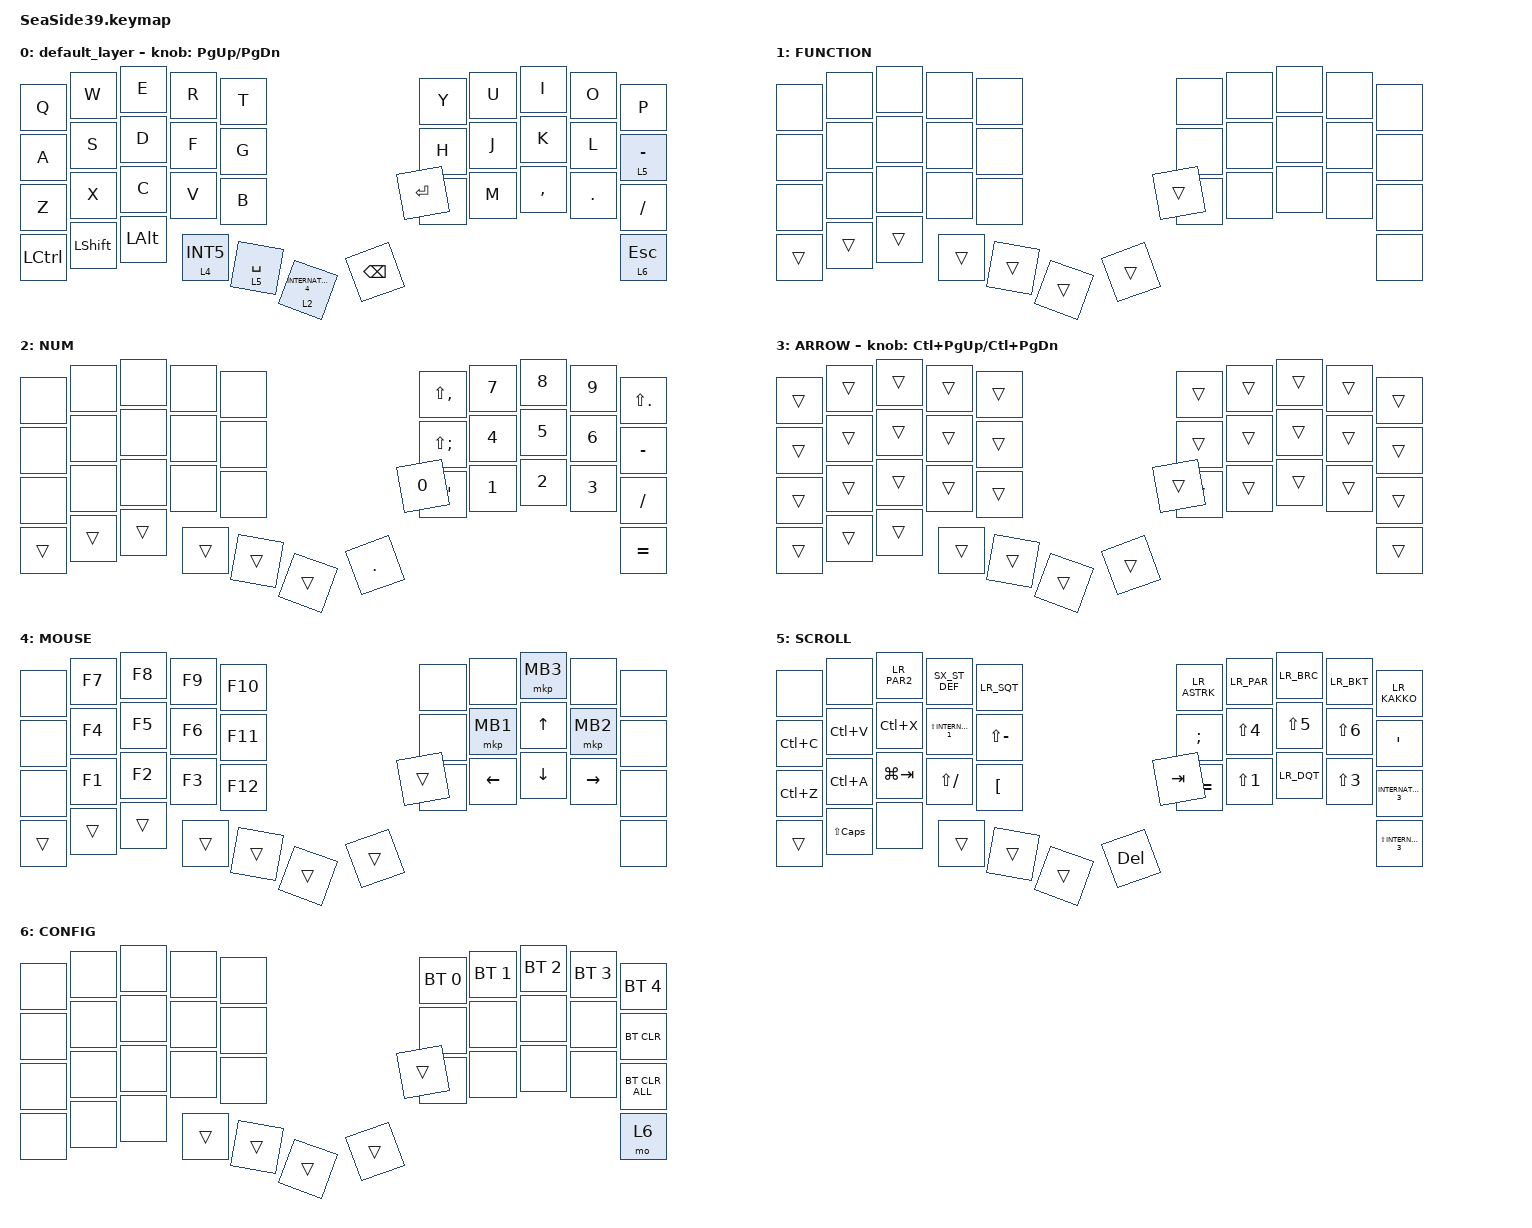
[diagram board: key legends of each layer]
#include <behaviors.dtsi>
#include <dt-bindings/zmk/bt.h>
#include <dt-bindings/zmk/keys.h>
#include <dt-bindings/zmk/pointing.h>

#define MOUSE 4
#define SCROLL 5
#define NUM 6

&mt {
    flavor = "balanced";
    quick-tap-ms = <300>;
};

&lt {
    flavor = "balanced";
    quick-tap-ms = <300>;
};

/ {
    combos { compatible = "zmk,combos"; };

    macros {
        to_layer_0: to_layer_0 {
            compatible = "zmk,behavior-macro-one-param";
            #binding-cells = <1>;
            bindings = <&to 0 &macro_param_1to1 &kp MACRO_PLACEHOLDER>;
            label = "TO_LAYER_0";
        };

        LR_PAR: LR_PAR {
            compatible = "zmk,behavior-macro";
            #binding-cells = <0>;
            bindings = <&kp INT5 &kp LS(N8) &kp LS(N9) &kp LEFT>;
            label = "LR_PAR";
        };

        LR_BRC: LR_BRC {
            compatible = "zmk,behavior-macro";
            #binding-cells = <0>;
            bindings = <&kp INTERNATIONAL_5 &kp LS(RBKT) &kp LS(NUHS) &kp LEFT>;
            label = "LR_BRC";
        };

        LR_BKT: LR_BKT {
            compatible = "zmk,behavior-macro";
            #binding-cells = <0>;
            bindings = <&kp INTERNATIONAL_5 &kp RBKT &kp NUHS &kp LEFT>;
            label = "LR_BKT";
        };

        LR_KAKKO: LR_KAKKO {
            compatible = "zmk,behavior-macro";
            #binding-cells = <0>;
            bindings = <&kp INTERNATIONAL_4 &kp RBKT &kp NUHS &kp ENTER &kp LEFT>;
            label = "LR_KAKKO";
        };

        LR_SQT: LR_SQT {
            compatible = "zmk,behavior-macro";
            #binding-cells = <0>;
            bindings = <&kp INTERNATIONAL_5 &kp LS(N7) &kp LS(N7) &kp LEFT>;
            label = "LR_SQT";
        };

        LR_DQT: LR_DQT {
            compatible = "zmk,behavior-macro";
            #binding-cells = <0>;
            bindings = <&kp INTERNATIONAL_5 &kp LS(NUMBER_2) &kp LS(NUMBER_2) &kp LEFT>;
            label = "LR_DQT";
        };

        LR_ASTRK: LR_ASTRK {
            compatible = "zmk,behavior-macro";
            #binding-cells = <0>;
            bindings = <&kp INTERNATIONAL_5 &kp LS(SQT) &kp LS(SQT) &kp LEFT_ARROW>;
            label = "LR_ASTRK";
        };

        SX_ST_DEF: SX_ST_DEF {
            compatible = "zmk,behavior-macro";
            #binding-cells = <0>;
            bindings = <&kp INTERNATIONAL_5 &kp SQT &kp LS(MINUS) &kp SPACE &kp SPACE &kp SEMI &kp LEFT &kp LEFT>;
            label = "SX_ST_DEF";
        };

        LR_PAR2: LR_PAR2 {
            compatible = "zmk,behavior-macro";
            #binding-cells = <0>;
            bindings = <&kp INTERNATIONAL_4 &kp LS(N8) &kp LS(N9) &kp ENTER &kp LEFT>;
            label = "LR_PAR2";
        };
    };

    behaviors {
        lt_to_layer_0: lt_to_layer_0 {
            compatible = "zmk,behavior-hold-tap";
            label = "LAYER_TAP_TO_0";
            bindings = <&mo>, <&to_layer_0>;

            #binding-cells = <2>;
            tapping-term-ms = <170>;
        };
    };

    keymap {
        compatible = "zmk,keymap";

        default_layer {
            bindings = <
&kp Q      &kp W      &kp E         &kp R                  &kp T                                                                        &kp Y      &kp U  &kp I      &kp O       &kp P
&kp A      &kp S      &kp D         &kp F                  &kp G                                                                        &kp H      &kp J  &kp K      &kp L       &lt_to_layer_0 5 MINUS
&kp Z      &kp X      &kp C         &kp V                  &kp B                                                                        &kp N      &kp M  &kp COMMA  &kp PERIOD  &kp SLASH
&kp LCTRL  &kp LSHFT  &kp LEFT_ALT  &lt_to_layer_0 4 INT5  &lt_to_layer_0 5 SPACE  &lt_to_layer_0 2 INTERNATIONAL_4      &kp BACKSPACE  &kp ENTER                                &lt_to_layer_0 6 ESCAPE
            >;

            sensor-bindings = <&inc_dec_kp PG_UP PAGE_DOWN>;
        };

        FUNCTION {
            bindings = <
&none   &none   &none   &none   &none                       &none   &none  &none  &none  &none
&none   &none   &none   &none   &none                       &none   &none  &none  &none  &none
&none   &none   &none   &none   &none                       &none   &none  &none  &none  &none
&trans  &trans  &trans  &trans  &trans  &trans      &trans  &trans                       &none
            >;
        };

        NUM {
            bindings = <
&none   &none   &none   &none   &none                           &kp LS(COMMA)  &kp NUMBER_7  &kp N8        &kp NUMBER_9  &kp LS(PERIOD)
&none   &none   &none   &none   &none                           &kp LS(SEMI)   &kp NUMBER_4  &kp N5        &kp NUMBER_6  &kp MINUS
&none   &none   &none   &none   &none                           &kp LS(SQT)    &kp NUMBER_1  &kp NUMBER_2  &kp NUMBER_3  &kp SLASH
&trans  &trans  &trans  &trans  &trans  &trans      &kp PERIOD  &kp NUMBER_0                                             &kp EQUAL
            >;
        };

        ARROW {
            bindings = <
&trans  &trans  &trans  &trans  &trans                      &trans  &trans  &trans  &trans  &trans
&trans  &trans  &trans  &trans  &trans                      &trans  &trans  &trans  &trans  &trans
&trans  &trans  &trans  &trans  &trans                      &trans  &trans  &trans  &trans  &trans
&trans  &trans  &trans  &trans  &trans  &trans      &trans  &trans                          &trans
            >;

            sensor-bindings = <&inc_dec_kp LC(PAGE_UP) LC(PAGE_DOWN)>;
        };

        MOUSE {
            bindings = <
&none   &kp F7  &kp F8  &kp F9  &kp F10                      &none   &none           &mkp MB3        &none            &none
&none   &kp F4  &kp F5  &kp F6  &kp F11                      &none   &mkp MB1        &kp UP          &mkp MB2         &none
&none   &kp F1  &kp F2  &kp F3  &kp F12                      &none   &kp LEFT_ARROW  &kp DOWN_ARROW  &kp RIGHT_ARROW  &none
&trans  &trans  &trans  &trans  &trans   &trans      &trans  &trans                                                   &none
            >;
        };

        SCROLL {
            bindings = <
&none      &none             &LR_PAR2     &SX_ST_DEF               &LR_SQT                                   &LR_ASTRK      &LR_PAR           &LR_BRC     &LR_BKT           &LR_KAKKO
&kp LC(C)  &kp LC(V)         &kp LC(X)    &kp LS(INTERNATIONAL_1)  &kp LS(MINUS)                             &kp SEMICOLON  &kp LS(NUMBER_4)  &kp LS(N5)  &kp LS(NUMBER_6)  &kp SQT
&kp LC(Z)  &kp LC(A)         &kp LG(TAB)  &kp LS(SLASH)            &kp LEFT_BRACKET                          &kp LS(EQUAL)  &kp LS(NUMBER_1)  &LR_DQT     &kp LS(NUMBER_3)  &kp INTERNATIONAL_3
&trans     &kp LS(CAPSLOCK)  &none        &trans                   &trans            &trans      &kp DELETE  &kp TAB                                                        &kp LS(INTERNATIONAL_3)
            >;
        };

        CONFIG {
            bindings = <
&none  &none  &none  &none   &none                       &bt BT_SEL 0  &bt BT_SEL 1  &bt BT_SEL 2  &bt BT_SEL 3  &bt BT_SEL 4
&none  &none  &none  &none   &none                       &none         &none         &none         &none         &bt BT_CLR
&none  &none  &none  &none   &none                       &none         &none         &none         &none         &bt BT_CLR_ALL
&none  &none  &none  &trans  &trans  &trans      &trans  &trans                                                  &mo 6
            >;
        };
    };

    ttp224tap: ttp224tap {
        compatible = "zmk,kscan-sideband-behaviors";
        kscan = <&touchkey1>;
        auto-enable;

        touch {
            column = <0>;
            row = <0>;
            bindings = <&mo 4>;
        };
    };
};
